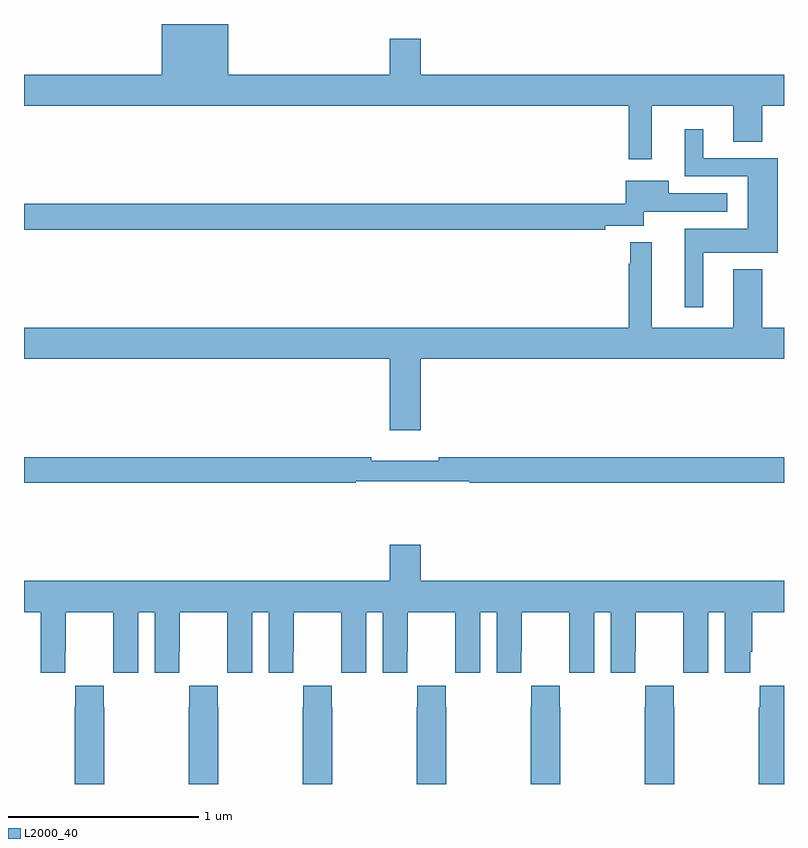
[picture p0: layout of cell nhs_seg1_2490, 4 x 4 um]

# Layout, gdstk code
import gdstk
lib = gdstk.Library(unit=1e-6, precision=1e-09)
def P(c, l, *ps):  # polygons
    for p in ps: c.add(gdstk.Polygon(p, *l))
L2000_40 = (2000, 40)

nhs_seg1_2490 = lib.new_cell('nhs_seg1_2490')
P(nhs_seg1_2490, L2000_40, [(250.303,515.768),(250.733,515.768),(250.733,515.578),(250.886,515.578),(250.886,515.768),(251,515.768),(251,515.932),(249.088,515.932),(249.088,516.121),(248.924,516.121),(248.924,515.932),(248.074,515.932),(248.074,516.199),(247.724,516.199),(247.724,515.932),(247,515.932),(247,515.768),(250.182,515.768),(250.182,515.487),(250.303,515.487)],
  [(250.576,514.994),(250.967,514.994),(250.967,515.493),(250.576,515.493),(250.576,515.644),(250.478,515.644),(250.478,515.397),(250.808,515.397),(250.808,515.122),(250.478,515.122),(250.478,514.707),(250.576,514.707)],
  [(250.06,515.136),(250.263,515.136),(250.263,515.211),(250.702,515.211),(250.702,515.307),(250.393,515.307),(250.393,515.374),(250.167,515.374),(250.167,515.252),(247,515.252),(247,515.116),(250.06,515.116)],
  [(249.088,514.436),(251,514.436),(251,514.6),(250.886,514.6),(250.886,514.909),(250.733,514.909),(250.733,514.6),(250.303,514.6),(250.303,515.05),(250.19,515.05),(250.19,514.937),(250.182,514.937),(250.182,514.6),(247,514.6),(247,514.436),(248.924,514.436),(248.924,514.062),(249.088,514.062)],
  [(248.745,513.792),(249.345,513.792),(249.345,513.784),(251,513.784),(251,513.92),(249.184,513.92),(249.184,513.901),(248.828,513.901),(248.828,513.92),(247,513.92),(247,513.784),(248.745,513.784)],
  [(247,513.104),(247.088,513.104),(247.088,512.784),(247.218,512.784),(247.218,512.896),(247.219,512.896),(247.219,513.104),(247.469,513.104),(247.469,512.896),(247.47,512.896),(247.47,512.784),(247.6,512.784),(247.6,513.104),(247.688,513.104),(247.688,512.784),(247.818,512.784),(247.818,512.896),(247.819,512.896),(247.819,513.104),(248.069,513.104),(248.069,512.896),(248.07,512.896),(248.07,512.784),(248.2,512.784),(248.2,513.104),(248.288,513.104),(248.288,512.784),(248.418,512.784),(248.418,512.896),(248.419,512.896),(248.419,513.104),(248.669,513.104),(248.669,512.896),(248.67,512.896),(248.67,512.784),(248.8,512.784),(248.8,513.104),(248.888,513.104),(248.888,512.784),(249.018,512.784),(249.018,512.896),(249.019,512.896),(249.019,513.104),(249.269,513.104),(249.269,512.896),(249.27,512.896),(249.27,512.784),(249.4,512.784),(249.4,513.104),(249.488,513.104),(249.488,512.784),(249.618,512.784),(249.618,512.896),(249.619,512.896),(249.619,513.104),(249.869,513.104),(249.869,512.896),(249.87,512.896),(249.87,512.784),(250,512.784),(250,513.104),(250.088,513.104),(250.088,512.784),(250.218,512.784),(250.218,512.896),(250.219,512.896),(250.219,513.104),(250.469,513.104),(250.469,512.896),(250.47,512.896),(250.47,512.784),(250.6,512.784),(250.6,513.104),(250.688,513.104),(250.688,512.784),(250.822,512.784),(250.822,512.896),(250.832,512.896),(250.832,513.104),(251,513.104),(251,513.268),(249.088,513.268),(249.088,513.457),(248.924,513.457),(248.924,513.268),(247,513.268)],
  [(250.422,512.603),(250.419,512.603),(250.419,512.716),(250.269,512.716),(250.269,512.603),(250.267,512.603),(250.267,512.199),(250.422,512.199)],
  [(248.022,512.603),(248.019,512.603),(248.019,512.716),(247.869,512.716),(247.869,512.603),(247.867,512.603),(247.867,512.199),(248.022,512.199)],
  [(248.622,512.603),(248.619,512.603),(248.619,512.716),(248.469,512.716),(248.469,512.603),(248.467,512.603),(248.467,512.199),(248.622,512.199)],
  [(249.222,512.603),(249.219,512.603),(249.219,512.716),(249.069,512.716),(249.069,512.603),(249.067,512.603),(249.067,512.199),(249.222,512.199)],
  [(249.822,512.603),(249.819,512.603),(249.819,512.716),(249.669,512.716),(249.669,512.603),(249.667,512.603),(249.667,512.199),(249.822,512.199)],
  [(251,512.716),(250.873,512.716),(250.873,512.603),(250.867,512.603),(250.867,512.199),(251,512.199)],
  [(247.269,512.716),(247.269,512.603),(247.267,512.603),(247.267,512.199),(247.422,512.199),(247.422,512.603),(247.419,512.603),(247.419,512.716)])

lib.write_gds('nhs_seg1_2490.gds')
